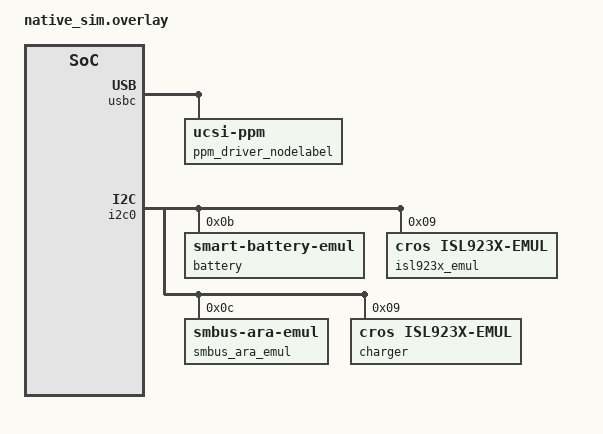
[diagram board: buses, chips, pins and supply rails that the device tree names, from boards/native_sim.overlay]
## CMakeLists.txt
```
# Copyright 2024 The ChromiumOS Authors
# Use of this source code is governed by a BSD-style license that can be
# found in the LICENSE file.

cmake_minimum_required(VERSION 3.13.1)
find_package(Zephyr REQUIRED HINTS "${ZEPHYR_BASE}")
project(pdc)

# Include FFF fakes
add_subdirectory(${PLATFORM_EC}/zephyr/test/test_utils test_utils)

zephyr_include_directories(include)

target_sources(app PRIVATE src/main.c)
target_sources(app PRIVATE src/fakes.c)

target_sources_ifdef(CONFIG_TEST_PDC_MESSAGE_TRACING  app PRIVATE
	src/util_pcap.c
	src/pdc_trace_msg.c)

if (DEFINED CONFIG_TEST_SUITE_PDC_API)
	target_sources(app PRIVATE src/generic/pdc_api.c)
endif()

if (DEFINED CONFIG_TEST_SUITE_PDC_GENERIC)
	target_sources(app PRIVATE src/generic/pdc_attached_snk.c)
	target_sources(app PRIVATE src/generic/pdc_power_mgmt_api.c)
	target_sources(app PRIVATE src/generic/pdc_pmc_debug_api.c)
	target_sources_ifdef(CONFIG_PDC_RUNTIME_PORT_CONFIG
		app PRIVATE src/board_runtime_config.c)
endif()

if (DEFINED CONFIG_TEST_SUITE_PDC_UTILS)
	target_sources(app PRIVATE src/generic/usb_utils.c)
endif()

if (DEFINED CONFIG_TEST_SUITE_PDC_POLICY)
	target_sources(app PRIVATE src/pdc_policy/non_pd_policy.c)
	target_sources(app PRIVATE src/pdc_policy/select_best_pdo.c)
	target_sources(app PRIVATE src/pdc_policy/src_policy_common.c)
	target_sources(app PRIVATE src/pdc_policy/src_policy_3a_port.c)
	target_sources(app PRIVATE src/pdc_policy/src_policy_battery_overload.c)
endif()

if (DEFINED CONFIG_TEST_SUITE_PDC_POLICY_SRC_NO_3A)
	target_sources(app PRIVATE src/pdc_policy/src_policy_common.c)
	target_sources(app PRIVATE src/pdc_policy/src_policy_no_3a_port.c)
endif()

if (DEFINED CONFIG_TEST_SUITE_PDC_POLICY_SINK)
	target_sources(app PRIVATE src/pdc_policy/sink_policy.c)
endif()

if (DEFINED CONFIG_TEST_SUITE_PDC_BATTERY_STATUS)
	target_sources(app PRIVATE src/generic/pdc_battery_status.c)
endif()

if (DEFINED CONFIG_TEST_PDC_POLICY_DEAD_BATTERY_TWO_CHARGERS)
	target_sources(app PRIVATE src/pdc_policy/dead_battery_policy.c)
	target_sources(app PRIVATE src/pdc_policy/dead_battery_two_chargers.c)
endif()

if (DEFINED CONFIG_TEST_PDC_POLICY_DEAD_BATTERY_AC_ONLY_AP_ON)
	target_sources(app PRIVATE src/pdc_policy/dead_battery_policy.c)
	target_sources(app PRIVATE src/pdc_policy/dead_battery_ac_only_ap_on.c)
endif()

if (DEFINED CONFIG_TEST_PDC_POLICY_DEAD_BATTERY_AC_ONLY_AP_OFF)
	target_sources(app PRIVATE src/pdc_policy/dead_battery_policy.c)
	target_sources(app PRIVATE src/pdc_policy/dead_battery_ac_only_ap_off.c)
endif()

if (DEFINED CONFIG_TEST_SUITE_PDC_POLICY_CLAMPED)
	target_sources(app PRIVATE src/pdc_policy/select_best_pdo_clamped.c)
endif()

if (DEFINED CONFIG_TEST_SUITE_PDC_POLICY_VARIABLE)
	target_sources(app PRIVATE src/pdc_policy/select_best_pdo_variable.c)
endif()

if (DEFINED CONFIG_TEST_SUITE_PDC_API_NULL_CHECK)
	target_sources(app PRIVATE src/generic/pdc_null_api.c)
endif()

if (DEFINED CONFIG_TEST_SUITE_PDC_DEVICE_NOT_READY)
	target_sources(app PRIVATE src/generic/device_not_ready.c)
endif()

if (DEFINED CONFIG_TEST_SUITE_PDC_RTS54XX)
	target_sources(app PRIVATE src/rts54xx/rts54xx.c)
endif()

if (DEFINED CONFIG_TEST_SUITE_PDC_TPS6699X)
	zephyr_include_directories(${PLATFORM_EC}/zephyr/drivers/usbc)
	target_sources(app PRIVATE src/tps6699x/tps6699x.c)
endif()

if (DEFINED CONFIG_TEST_SUITE_PDC_RETIMER_FW_UPDATE)
	target_sources(app PRIVATE src/generic/retimer_fw_update.c)
endif()

if (DEFINED CONFIG_TEST_SUITE_PDC_CONSOLE)
	target_sources(app PRIVATE src/generic/pdc_console.c)
	target_sources(app PRIVATE src/mock_pdc_power_mgmt.c)
endif()

if (DEFINED CONFIG_TEST_SUITE_PDC_HOSTCMD)
	target_sources(app PRIVATE src/generic/pdc_host_cmd.c)
	target_sources(app PRIVATE src/mock_pdc_power_mgmt.c)
endif()

if (DEFINED CONFIG_TEST_SUITE_UCSI_HOSTCMD)
	target_sources(app PRIVATE src/generic/ucsi_host_cmd.c)
	target_sources(app PRIVATE ${PLATFORM_EC}/zephyr/subsys/ucsi/ucsi_host_cmd.c)
endif()

if (DEFINED CONFIG_TEST_SUITE_PPM)
	zephyr_include_directories(${PLATFORM_EC}/zephyr/subsys/ucsi)
	target_sources(app PRIVATE src/generic/ppm.c)
	target_sources(app PRIVATE src/generic/ucsi_ppm_host_cmd.c)
	target_sources_ifdef(CONFIG_PDC_RUNTIME_PORT_CONFIG
		app PRIVATE src/board_runtime_config.c)
endif()

if (DEFINED CONFIG_TEST_SUITE_PPM_CONSOLE)
	target_sources(app PRIVATE ${PLATFORM_EC}/zephyr/subsys/ucsi/ppm_console.c)
	target_sources(app PRIVATE src/generic/ppm_console.c)
endif()

if (DEFINED CONFIG_TEST_SUITE_PDC_PMC_USB_MUX)
	target_sources(app PRIVATE src/generic/pdc_pmc_usb_mux.c)
endif()

if (DEFINED CONFIG_TEST_SUITE_PPM_DRIVER)
	target_sources(app PRIVATE src/generic/ppm_driver.c)
	target_sources(app PRIVATE ${PLATFORM_EC}/zephyr/subsys/ucsi/ppm_driver.c)
endif()

if (DEFINED CONFIG_TEST_SUITE_PDC_UCSI)
	target_sources(app PRIVATE src/ucsi/ucsi.c)
endif()

if (DEFINED CONFIG_TEST_SUITE_PPM_STATE_MACHINE)
	target_sources(app PRIVATE src/generic/ppm_state_machine.c)

	zephyr_include_directories(${PLATFORM_EC}/zephyr/subsys/ucsi)
	target_sources(app PRIVATE ${PLATFORM_EC}/zephyr/subsys/ucsi/ppm_common.c)
endif()

if (DEFINED CONFIG_TEST_SUITE_PDC_TRACE_MSG)
	target_sources(app PRIVATE src/generic/pdc_trace_msg.c)
endif()

if (DEFINED CONFIG_TEST_SUITE_PDC_RUNTIME_PORT_CONFIG)
	target_sources_ifdef(CONFIG_TEST_PDC_RUNTIME_CONFIG_SCENARIO_NO_PDCS
		app PRIVATE src/runtime_config/no_pdcs.c)
	target_sources_ifdef(CONFIG_TEST_PDC_RUNTIME_CONFIG_SCENARIO_ONE_PDC
		app PRIVATE src/runtime_config/one_pdc.c)
	target_sources_ifdef(CONFIG_TEST_PDC_RUNTIME_CONFIG_SCENARIO_DISCONT
		app PRIVATE src/runtime_config/discontiguous.c)
	target_sources_ifdef(CONFIG_TEST_PDC_RUNTIME_CONFIG_SCENARIO_TWO_PDCS
		app PRIVATE src/runtime_config/two_pdcs.c)
endif()

if (DEFINED CONFIG_TEST_SUITE_PDC_COMMS_SUSPEND_RESUME)
	target_sources(app PRIVATE src/generic/pdc_comms_suspend_resume.c)
endif()
```

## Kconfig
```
# Copyright 2024 The ChromiumOS Authors
# Use of this source code is governed by a BSD-style license that can be
# found in the LICENSE file.

config TEST_NO_PDC_INIT
	bool "Do not autoinit pdc devices"

config TEST_SUITE_PDC_API
	bool "Enable generic PDC driver API tests"

config TEST_SUITE_PDC_GENERIC
	bool "Enable generic pdc_power_mgmt tests"

config TEST_SUITE_PDC_UTILS
	bool "Enable PDC utility tests"

config TEST_SUITE_PDC_API_NULL_CHECK
	bool "Enable PDC API null-protection checks"

config TEST_SUITE_PDC_DEVICE_NOT_READY
	bool "Enable PDC subsystem tests for device-not-ready"

config TEST_SUITE_PDC_POLICY
	bool "Enable PDC policy tests"

config TEST_SUITE_PDC_POLICY_SRC_NO_3A
	bool "Enable PDC src policy tests with no 3A port"

config TEST_SUITE_PDC_POLICY_SINK
	bool "Enable PDC policy sink tests"

config TEST_SUITE_PDC_BATTERY_STATUS
  bool "Enable PDC battery status tests"

config TEST_SUITE_PDC_POLICY_DEAD_BATTERY
	bool "Enable PDC Dead Battery policy tests"

config TEST_SUITE_PDC_COMMS_SUSPEND_RESUME
	bool "Enable PDC communication suspend and resume tests"

config TEST_PDC_POLICY_DEAD_BATTERY_TWO_CHARGERS
	select TEST_SUITE_PDC_POLICY_DEAD_BATTERY
	bool "Validate dead battery with two connected chargers"

config TEST_PDC_POLICY_DEAD_BATTERY_AC_ONLY_AP_ON
	select TEST_SUITE_PDC_POLICY_DEAD_BATTERY
	bool "Validate dead battery with AC connected, no battery, and AP on"

config TEST_PDC_POLICY_DEAD_BATTERY_AC_ONLY_AP_OFF
	select TEST_SUITE_PDC_POLICY_DEAD_BATTERY
	bool "Validate dead battery with AC connected, no battery, and AP off"

config TEST_SUITE_PDC_POLICY_CLAMPED
	bool "Enable PDC policy tests with clamped power"

config TEST_SUITE_PDC_POLICY_VARIABLE
	bool "Enable PDC policy tests to verify variabled PDOs"

config TEST_SUITE_PDC_PMC_USB_MUX
	bool "Enable PDC PMC USB mux tests"

config TEST_SUITE_PDC_RTS54XX
	bool "Enable RTS54xx PDC tests"

config TEST_SUITE_PDC_TPS6699X
	bool "Enable TPS6699x PDC tests"

config TODO_B_345292002
	bool "Disable tests that fail for TPS6699x PDC config"
	help
	  Enable this config for pdc.generic.tps6699x to disable tests that
	  currently fail. As b/345292002 progresses, the amount of code
	  protected by this config should go down.

config TEST_SUITE_PDC_RETIMER_FW_UPDATE
	bool "Enable retimer FW update tests"

config TEST_SUITE_PDC_CONSOLE
	bool "Enable pdc console command tests"

config TEST_SUITE_PDC_HOSTCMD
	bool "Enable PDC host command tests"

config TEST_SUITE_UCSI_HOSTCMD
	bool "Enable UCSI host command tests"

config TEST_SUITE_PPM
	bool "Enable UCSI PPM tests"
	help
	  Enable tests for the PPM of the UCSI. This suite tests our PPM from
	  the perspective of the UCSI spec. All layers use the actual code
	  (ppm_common, ppm_driver, pdc_driver) and mocking is discouraged.
	  Inputs to the tests are controlled through a PDC emulator.

config TEST_SUITE_PPM_CONSOLE
	bool "Enable tests for the `ppm` console command"
	help
	  Run a test suite covering the `ppm` console command, which sends
	  various UCSI commands from the EC console for testing and debugging
	  purposes.

config TEST_SUITE_PPM_DRIVER
	bool "Enable PPM driver tests"
	help
	  Enable tests for the lower layer (ppm_driver) of the PPM. This suite
	  exercises the behaviors specific to the implementation. Mocking the
	  upper layer (ppm_common) and lower layer (pdc driver) is used to cover
	  corner cases.

config TEST_SUITE_PDC_UCSI
	bool "Enable UCSI tests"

config TEST_SUITE_PPM_STATE_MACHINE
	bool "Enable PPM state machine tests"
	help
	  Enable tests for the state machine (ppm_common) of the PPM.

config TEST_PDC_MESSAGE_TRACING
	bool "Enable PDC message tracing"
	help
	  Capture PDC messages between the EC and the PDC chip. These
	  can be standard UCSI messages or vendor specific messages such
	  as those defined for the rts54xx chip. Message data is
	  reported in the test run logs and in a separate "rts.pcap"
	  file in PCAP capture file format.

config TEST_SUITE_PDC_TRACE_MSG
	bool "Enable PDC message tracing tests"
	depends on !TEST_PDC_MESSAGE_TRACING
	help
	  No help.

	  These tests are incompatible with TEST_PDC_MESSAGE_TRACING
	  since that config enables an alternate implementation of the
	  code to be tested here.

config TEST_SUITE_PDC_RUNTIME_PORT_CONFIG
	bool "Enable PDC runtime port config tests"
	help
	  Run tests for the runtime USB-C port configuration feature

config TEST_SKIP_EC_APP_MAIN
	bool "Skip running ec_app_main()"
	help
	  Some tests intentionally create errors, like incorrect
	  initialization order, and verify the error handling paths.
	  The ec_app_main() is broken in these cases.

choice TEST_PDC_RUNTIME_CONFIG_SCENARIO
	prompt "Select a PDC topology to set up at runtime"
	depends on TEST_SUITE_PDC_RUNTIME_PORT_CONFIG

config TEST_PDC_RUNTIME_CONFIG_SCENARIO_NO_PDCS
	bool "Cause an error while reading board PDC config"
	help
	  Return an error from `board_get_pdc_for_port()`, causing no PDCs to be
	  initialized.

config TEST_PDC_RUNTIME_CONFIG_SCENARIO_ONE_PDC
	bool "Enable C0 but not C1"
	help
	  Activate one of two ports from `board_get_pdc_for_port()`

config TEST_PDC_RUNTIME_CONFIG_SCENARIO_DISCONT
	bool "Disable C0 but enable C1"
	help
	  Activate only the second port from `board_get_pdc_for_port()`

config TEST_PDC_RUNTIME_CONFIG_SCENARIO_TWO_PDCS
	bool "Enable C0 and enable C1"
	help
	  Activate both ports from `board_get_pdc_for_port()`

endchoice

config TEST_PDC_DISABLE_C1
	bool "Don't initialize port C1"
	depends on PDC_RUNTIME_PORT_CONFIG
	help
	  Use this when testing runtime port configuration to enable only one
	  of the two PDC ports.

config TEST_SNIFF_POWER_MGMT_PDC_APIS
	bool "Enable PDC sniffing APIs in pdc_power_mgmt for tests"
	help
	  This is used to allow tests to create sniffing PDC APIs in
	  pdc_power_mgmt.c that can be mocked in tests.

source "Kconfig.zephyr"
```

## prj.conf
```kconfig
# Copyright 2024 The ChromiumOS Authors
# Use of this source code is governed by a BSD-style license that can be
# found in the LICENSE file.

CONFIG_ZTEST=y

# Basic EC functions
CONFIG_SHIMMED_TASKS=y
CONFIG_CROS_EC=y
CONFIG_PLATFORM_EC=y
CONFIG_PLATFORM_EC_HOOKS=y
CONFIG_PLATFORM_EC_HOSTCMD=y
CONFIG_PLATFORM_EC_SYSTEM_UNLOCKED=y

# Console
CONFIG_SHELL_BACKEND_DUMMY=y
CONFIG_SHELL_BACKEND_DUMMY_BUF_SIZE=1000
CONFIG_SHELL_BACKEND_SERIAL=n
CONFIG_SERIAL=y

# Logging is configured to send output to the shell, disable
# the UART backed to prevent duplicate messages in the output.
CONFIG_LOG_BACKEND_UART=n

# Emulated PDC
CONFIG_EMUL=y

# Disable BC1.2
CONFIG_PLATFORM_EC_USB_CHARGER=n

CONFIG_PLATFORM_EC_CHARGER=y
CONFIG_PLATFORM_EC_CHARGER_SENSE_RESISTOR=10
CONFIG_PLATFORM_EC_CHARGER_SENSE_RESISTOR_AC=10
CONFIG_PLATFORM_EC_CHARGER_ISL9238=y

# Turn off other unneeded features
CONFIG_PLATFORM_EC_BACKLIGHT_LID=n
CONFIG_PLATFORM_EC_VBOOT_HASH=n
CONFIG_PLATFORM_EC_SWITCH=n
CONFIG_PLATFORM_EC_USBC_SS_MUX=n

# Disable [TCPMv2] Power Delivery Function
CONFIG_PLATFORM_EC_USB_POWER_DELIVERY=n
CONFIG_PLATFORM_EC_USBC_PPC=n
CONFIG_PLATFORM_EC_USB_PD_PPC=n
CONFIG_PLATFORM_EC_HOSTCMD_PD_CONTROL=n
CONFIG_PLATFORM_EC_HOSTCMD_RWHASHPD=n

# Disable typec host commands until a PDC counterpart exists.
CONFIG_PLATFORM_EC_HOSTCMD_TYPEC_DISCOVERY=n
CONFIG_PLATFORM_EC_HOSTCMD_TYPEC_CONTROL=n
CONFIG_PLATFORM_EC_HOSTCMD_TYPEC_STATUS=n
CONFIG_PLATFORM_EC_HOSTCMD_PD_CHIP_INFO=n

# Use PD Controller
CONFIG_PLATFORM_EC_USBC=y
CONFIG_PLATFORM_EC_USB_PD_CONTROLLER=y
CONFIG_PLATFORM_EC_USB_PD_VBUS_MEASURE_NOT_PRESENT=y
CONFIG_PLATFORM_EC_USB_PD_DISCHARGE=n

# Test PDC-driven CCD
CONFIG_USBC_PDC_DRIVEN_CCD=y

# Allow more time in unit tests for the PDC Power Mgmt state machine to reach
# a steady state. TODO(b/372259212): Investigate what's holding up the sequence
CONFIG_PDC_POWER_MGMT_STATE_MACHINE_SETTLED_TIMEOUT_MS=2500

# Charger
CONFIG_PLATFORM_EC_BATTERY_FUEL_GAUGE=y
CONFIG_PLATFORM_EC_CHARGER_ISL9238=y
CONFIG_PLATFORM_EC_CHARGER_SENSE_RESISTOR=10
CONFIG_PLATFORM_EC_CHARGER_SENSE_RESISTOR_AC=20
CONFIG_PLATFORM_EC_CHARGER_MIN_POWER_MW_FOR_POWER_ON=30000
CONFIG_PLATFORM_EC_CHARGER_MIN_POWER_MW_FOR_POWER_ON_WITH_BATT=15000

CONFIG_USB_PDC_POWER_MGMT=y

# Print logs from Zephyr LOG_MODULE to stdout
CONFIG_UART_NATIVE_PTY_0_ON_STDINOUT=y
CONFIG_LOG_BACKEND_SHOW_COLOR=n

CONFIG_PLATFORM_EC_USB_PD_VBUS_MEASURE_NOT_PRESENT=y
CONFIG_PDC_POWER_MGMT_SRC_PDO_PEAK_OCP_150=y

# Test battery overload
CONFIG_PDC_POWER_MGMT_SRC_THROTTLING=n
```

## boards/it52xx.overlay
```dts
/* Copyright 2026 The ChromiumOS Authors
 * Use of this source code is governed by a BSD-style license that can be
 * found in the LICENSE file.
 */

#include "native_sim.overlay"

&i2c0 {
	pdc_emul1: it52xx-pdc@26 {
		compatible = "ite,it52xx-pdc";
		reg = <0x26>;
		ccd;
	};

	pdc_emul2: it52xx-pdc@27 {
		compatible = "ite,it52xx-pdc";
		reg = <0x27>;
	};
};
```

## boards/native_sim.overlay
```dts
/* Copyright 2024 The ChromiumOS Authors
 * Use of this source code is governed by a BSD-style license that can be
 * found in the LICENSE file.
 */

#include <board-overlays/native_sim.dts>
#include <it8xxx2_emul.dts>
#include <usbc-policy.dtsi>

/ {
	usbc {
		#address-cells = <1>;
		#size-cells = <0>;

		/* Configure just the DB port
		 */
		usbc0: port0@0 {
			compatible = "named-usbc-port";
			reg = <0>;
			chg = <&charger>;
			pdc = <&pdc_emul1>;
			chg = <&isl923x_emul>;
			policy = <&cros_policy>;
			pd-retimer;
			usb-mux-chain-0 {
				compatible = "cros-ec,usb-mux-chain";
				usb-muxes = <&virtual_mux_0>;
			};
			zephyr,deferred-init;
		};

		port0-muxes {
			virtual_mux_0: virtual-mux-0 {
				compatible = "cros-ec,usbc-mux-virtual";
			};
		};

		usbc1: port1@1 {
			compatible = "named-usbc-port";
			reg = <1>;
			pdc = <&pdc_emul2>;
			policy = <&cros_policy>;
			pd-retimer;
			usb-mux-chain-1 {
				compatible = "cros-ec,usb-mux-chain";
				usb-muxes = <&virtual_mux_1>;
			};
			zephyr,deferred-init;
		};

		port1-muxes {
			virtual_mux_1: virtual-mux-1 {
				compatible = "cros-ec,usbc-mux-virtual";
			};
		};

		ppm_driver_nodelabel: ppm-driver {
			compatible = "ucsi-ppm";
			b-num-alt-modes = <2>;
		};
	};

	batteries {
		default_battery: lgc_ac17a8m {
			compatible = "lgc,ac17a8m", "battery-smart";
		};
	};

	named-i2c-ports {
		compatible = "named-i2c-ports";

		i2c_ec_i2c_usb_c0: ec_i2c_usb_c0 {
			i2c-port = <&i2c0>;
			enum-names = "I2C_PORT_USB_C0_TCPC";
		};

		i2c_ec_i2c_charger: ec_i2c_charger {
			i2c-port = <&i2c0>;
			enum-names = "I2C_PORT_BATTERY";
		};
	};

};

&i2c0 {
	battery: sb@b {
		compatible = "zephyr,smart-battery-emul";
		reg = <0xb>;
		cycle-count = <6>;
		version = "BATTERY_SPEC_VER_1_1_WITH_PEC";
		desired-charg-volt = <11250>;
		desired-charg-cur = <2400>;
		mf-name = "LGC";
		dev-name = "AP18C8K";
	};

	isl923x_emul: isl923x@9 {
		compatible = "cros,isl923x-emul";
		status = "okay";
		reg = <0x09>;
		battery = <&battery>;
	};

	smbus_ara_emul: smbus_ara@c {
		compatible = "zephyr,smbus-ara-emul";
		reg = <0xc>;
	};

	charger: isl9238@9 {
		compatible = "cros,isl923x-emul";
		status = "okay";
		reg = <0x9>;
		battery = <&battery>;
	};
};

&cros_policy {
	max-discharge-current-ma = <4500>;
	max-discharge-power-mw = <41000>;
};
```

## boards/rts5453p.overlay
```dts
/* Copyright 2024 The ChromiumOS Authors
 * Use of this source code is governed by a BSD-style license that can be
 * found in the LICENSE file.
 */

#include "native_sim.overlay"

&i2c0 {
	pdc_emul1: rts5453p@66 {
		compatible = "realtek,rts54-pdc";
		status = "okay";
		reg = <0x66>;
		irq-gpios = <&gpio0 0 GPIO_ACTIVE_LOW>;
		ccd;
		usb-comm-capable-as-device;
		usb4-capable-as-host;
	};

	pdc_emul2: rts5453p@67 {
		compatible = "realtek,rts54-pdc";
		status = "okay";
		reg = <0x67>;
		irq-gpios = <&gpio0 0 GPIO_ACTIVE_LOW>;
	};
};
```

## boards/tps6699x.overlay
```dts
/* Copyright 2024 The ChromiumOS Authors
 * Use of this source code is governed by a BSD-style license that can be
 * found in the LICENSE file.
 */

#include "native_sim.overlay"

/{
        /* Leverage 'zephyr,user' node for driver specific behavior */
        zephyr,user {
                test_timeout = <1850>;
                /* TI PDC Info */
                pd_version = <0>;
                pd_revision = <0>;
                project_name = "GOOG";
        };
};

&i2c0 {
        pdc_emul1: tps6699-pdc@20 {
                compatible = "ti,tps6699-pdc";
                reg = <0x20>;
                irq-gpios = <&gpiof 5 (GPIO_PULL_UP | GPIO_ACTIVE_LOW)>;
                port-index-on-chip = <0x1>;
                ccd;
                frs-supported;
        };

        pdc_emul2: tps6699-pdc@24 {
                compatible = "ti,tps6699-pdc";
                reg = <0x24>;
                irq-gpios = <&gpiof 5 (GPIO_PULL_UP | GPIO_ACTIVE_LOW)>;
                port-index-on-chip = <0x2>;
                no-fw-update;
                frs-supported;
        };
};
```

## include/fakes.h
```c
/* Copyright 2025 The ChromiumOS Authors
 * Use of this source code is governed by a BSD-style license that can be
 * found in the LICENSE file.
 */

#ifndef PLATFORM_EC_ZEPHYR_TEST_PDC_INCLUDE_FAKES_H_
#define PLATFORM_EC_ZEPHYR_TEST_PDC_INCLUDE_FAKES_H_

#include "battery.h"

extern struct batt_params test_batt_params;

void set_battery_present(enum battery_present bp);

extern int mock_usb_pd_3a_ports;

#endif /* PLATFORM_EC_ZEPHYR_TEST_PDC_INCLUDE_FAKES_H_ */
```

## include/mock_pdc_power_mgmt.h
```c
/* Copyright 2024 The ChromiumOS Authors
 * Use of this source code is governed by a BSD-style license that can be
 * found in the LICENSE file.
 */

#ifndef PLATFORM_EC_ZEPHYR_TEST_PDC_INCLUDE_MOCK_PDC_POWER_MGMT_H_
#define PLATFORM_EC_ZEPHYR_TEST_PDC_INCLUDE_MOCK_PDC_POWER_MGMT_H_

#include "drivers/ucsi_v3.h"
#include "usbc/pdc_power_mgmt.h"

#include <zephyr/fff.h>

/* FFF fake declarations for select functions in `pdc_power_mgmt.c` */

DECLARE_FAKE_VALUE_FUNC(int, pdc_power_mgmt_connector_reset, int,
			enum connector_reset);
DECLARE_FAKE_VALUE_FUNC(int, pdc_power_mgmt_get_cable_prop, int,
			union cable_property_t *);
DECLARE_FAKE_VALUE_FUNC(int, pdc_power_mgmt_get_connector_status, int,
			union connector_status_t *);
DECLARE_FAKE_VALUE_FUNC(int, pdc_power_mgmt_get_info, int, struct pdc_info_t *,
			bool);
DECLARE_FAKE_VALUE_FUNC(bool, pdc_power_mgmt_get_partner_data_swap_capable,
			int);
DECLARE_FAKE_VALUE_FUNC(enum pd_power_role, pdc_power_mgmt_get_power_role, int);
DECLARE_FAKE_VALUE_FUNC(const char *, pdc_power_mgmt_get_task_state_name, int);
DECLARE_FAKE_VALUE_FUNC(bool, pdc_power_mgmt_is_connected, int);
DECLARE_FAKE_VALUE_FUNC(enum pd_data_role, pdc_power_mgmt_pd_get_data_role,
			int);
DECLARE_FAKE_VALUE_FUNC(enum tcpc_cc_polarity, pdc_power_mgmt_pd_get_polarity,
			int);
DECLARE_FAKE_VOID_FUNC(pdc_power_mgmt_request_data_swap, int);
DECLARE_FAKE_VOID_FUNC(pdc_power_mgmt_request_power_swap, int);
DECLARE_FAKE_VALUE_FUNC(int, pdc_power_mgmt_reset, int);
DECLARE_FAKE_VALUE_FUNC(int, pdc_power_mgmt_set_comms_state, bool);
DECLARE_FAKE_VOID_FUNC(pdc_power_mgmt_set_dual_role, int,
		       enum pd_dual_role_states);
DECLARE_FAKE_VALUE_FUNC(enum pd_dual_role_states, pdc_power_mgmt_get_dual_role,
			int);
DECLARE_FAKE_VALUE_FUNC(int, pdc_power_mgmt_set_trysrc, int, bool);
DECLARE_FAKE_VOID_FUNC(pdc_power_mgmt_request_source_voltage, int, int);
DECLARE_FAKE_VALUE_FUNC(unsigned int, pdc_power_mgmt_get_max_voltage);
DECLARE_FAKE_VALUE_FUNC(uint8_t, pdc_power_mgmt_get_src_cap_cnt, int);
DECLARE_FAKE_VALUE_FUNC(const uint32_t *const, pdc_power_mgmt_get_src_caps,
			int);
DECLARE_FAKE_VALUE_FUNC(int, pdc_power_mgmt_get_lpm_ppm_info, int,
			struct lpm_ppm_info_t *);
DECLARE_FAKE_VALUE_FUNC(bool, pdc_power_mgmt_check_hpd_wake, int);
DECLARE_FAKE_VALUE_FUNC(int, pdc_power_mgmt_get_pch_data_status, int,
			uint8_t *);
DECLARE_FAKE_VALUE_FUNC(int, pdc_power_mgmt_get_rdo, int, uint32_t *);
DECLARE_FAKE_VALUE_FUNC(int, pdc_power_mgmt_get_drp_mode, int,
			enum drp_mode_t *);
DECLARE_FAKE_VALUE_FUNC(bool, pdc_power_mgmt_get_vconn_state, int);
DECLARE_FAKE_VALUE_FUNC(int, pdc_power_mgmt_get_sbu_mux_mode,
			enum pdc_sbu_mux_mode *, int *);
DECLARE_FAKE_VALUE_FUNC(int, pdc_power_mgmt_set_sbu_mux_mode,
			enum pdc_sbu_mux_mode);
DECLARE_FAKE_VALUE_FUNC(int, pdc_power_mgmt_set_bbr_cts, int, bool);
DECLARE_FAKE_VALUE_FUNC(int, pdc_power_mgmt_set_ap_power_state,
			enum power_state);
DECLARE_FAKE_VOID_FUNC(pdc_power_mgmt_simulate_power_button_press, int);

/**
 * @brief Reset the above set of fakes
 */
void helper_reset_pdc_power_mgmt_fakes(void);

#endif /* PLATFORM_EC_ZEPHYR_TEST_PDC_INCLUDE_MOCK_PDC_POWER_MGMT_H_ */
```

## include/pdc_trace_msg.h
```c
/* Copyright 2024 The ChromiumOS Authors
 * Use of this source code is governed by a BSD-style license that can be
 * found in the LICENSE file.
 */

#ifndef PLATFORM_EC_ZEPHYR_TEST_PDC_INCLUDE_PDC_TRACE_MSG_H_
#define PLATFORM_EC_ZEPHYR_TEST_PDC_INCLUDE_PDC_TRACE_MSG_H_

void set_pdc_trace_msg_mocks(void);

#endif /* PLATFORM_EC_ZEPHYR_TEST_PDC_INCLUDE_PDC_TRACE_MSG_H_ */
```

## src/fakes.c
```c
/* Copyright 2024 The ChromiumOS Authors
 * Use of this source code is governed by a BSD-style license that can be
 * found in the LICENSE file.
 */

#include "battery.h"
#include "charge_state.h"
#include "fakes.h"

static enum battery_present bp_val = BP_YES;

struct batt_params test_batt_params = {
	.is_present = BP_YES,
};

void set_battery_present(enum battery_present bp)
{
	bp_val = bp;
	test_batt_params.is_present = bp;
}

int battery_is_present(void)
{
	return bp_val;
}

const struct batt_params *charger_current_battery_params(void)
{
	return &test_batt_params;
}

int test_extpower_present = 0;
int extpower_is_present(void)
{
	return test_extpower_present;
}

#ifndef CONFIG_PLATFORM_EC_USB_PD_3A_PORTS
#define CONFIG_PLATFORM_EC_USB_PD_3A_PORTS 0
#endif
int mock_usb_pd_3a_ports = CONFIG_PLATFORM_EC_USB_PD_3A_PORTS;
int pd_get_usb_pd_3a_ports(void)
{
	return mock_usb_pd_3a_ports;
}
```

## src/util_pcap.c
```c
/* Copyright 2024 The ChromiumOS Authors
 * Use of this source code is governed by a BSD-style license that can be
 * found in the LICENSE file.
 */

#include "timer.h"
#include "util_pcap.h"

#include <stdio.h>
#include <string.h>

#include <zephyr/kernel.h>
#include <zephyr/logging/log.h>
#include <zephyr/sys/clock.h>

LOG_MODULE_REGISTER(pdc_util_pcap, LOG_LEVEL_INF);

/*
 * Minimal pcap file structures originally from pcap/pcap.h
 */

struct pcap_hdr {
	uint32_t magic_number; /* magic number */
	uint16_t version_major; /* major version number */
	uint16_t version_minor; /* minor version number */
	int32_t thiszone; /* not used - SHOULD be filled with 0 */
	uint32_t sigfigs; /* not used - SHOULD be filled with 0 */
	uint32_t snaplen; /* max length saved portion of each pkt */
	uint32_t linktype; /* data link type (LINKTYPE_*) */
};

struct pcap_pkthdr {
	uint32_t ts_sec; /* time stamp seconds */
	uint32_t ts_usec; /* time stamp microseconds */
	uint32_t caplen; /* length of portion present in data */
	uint32_t len; /* length of this packet prior to any slicing */
};

FILE *pcap_open(void)
{
	/*
	 * Each test runs in its own dedicated output directory, so
	 * "rts.pcap" will be created as a sibling to "build.log" and
	 * "handler.log".
	 */
	static const char pcap_file[] = "rts.pcap";
	FILE *fp;
	struct pcap_hdr hdr;

	fp = fopen(pcap_file, "w");
	if (fp == NULL) {
		LOG_ERR("Could not open pcap file %s\n", pcap_file);
		return NULL;
	}

	memset(&hdr, 0, sizeof(hdr));
	hdr.magic_number = 0xa1b2c3d4; /* timestamp in microseconds */
	hdr.version_major = 2;
	hdr.version_minor = 4;
	hdr.snaplen = 512;
	hdr.linktype = 147; /* DLT_USER0 */

	fwrite(&hdr, sizeof(hdr), 1, fp);

	return fp;
}

void pcap_append(FILE *fp, const void *pl, size_t pl_sz)
{
	struct pcap_pkthdr pkt;
	uint64_t usec = k_ticks_to_us_near32(k_uptime_ticks());

	pkt.ts_sec = usec / USEC_PER_SEC;
	pkt.ts_usec = usec % USEC_PER_SEC;

	pkt.caplen = pl_sz;
	pkt.len = pl_sz;

	fwrite(&pkt, sizeof(pkt), 1, fp);
	fwrite(pl, pl_sz, 1, fp);
}
```

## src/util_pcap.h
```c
/* Copyright 2024 The ChromiumOS Authors
 * Use of this source code is governed by a BSD-style license that can be
 * found in the LICENSE file.
 */

#ifndef PLATFORM_EC_ZEPHYR_TEST_PDC_SRC_UTIL_PCAP_H_
#define PLATFORM_EC_ZEPHYR_TEST_PDC_SRC_UTIL_PCAP_H_

#include <stdio.h>

/*
 * @brief Create a PCAP file called "rts.pcap" in the
 *        test output directory and return its FILE *.
 *
 * @return FILE * of PCAP file.
 */
FILE *pcap_open(void);

/*
 * @brief Append data to PCAP file. The data is encapsulated
 *        in a PCAP entry header which includes a timestamp
 *        and data length information.
 *
 * @param pl    Pointer to data to write.
 * @param pl_sz Size of data to write.
 */
void pcap_append(FILE *fp, const void *pl, size_t pl_sz);

#endif /* PLATFORM_EC_ZEPHYR_TEST_PDC_SRC_UTIL_PCAP_H_ */
```
